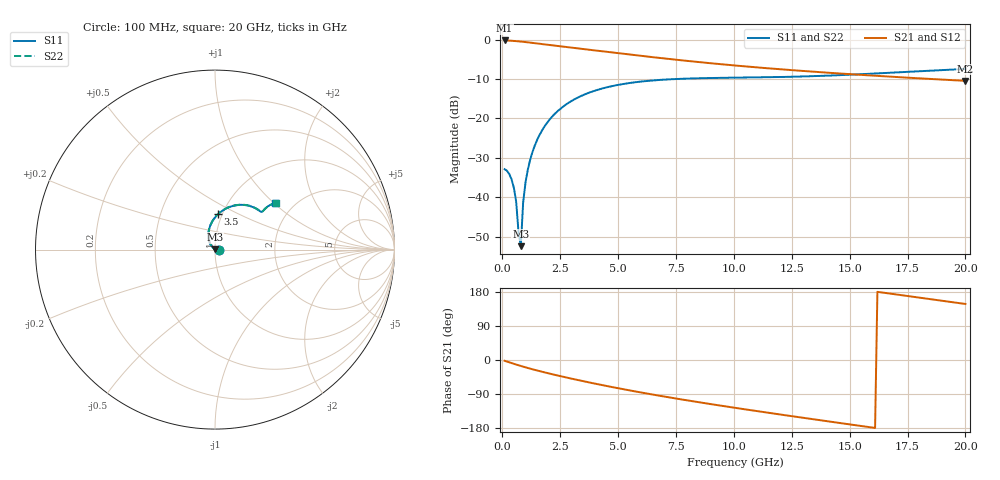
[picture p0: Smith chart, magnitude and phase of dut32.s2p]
! Touchstone file exported from HFSS 2023.1.0
!  File:  D:/Users/fzz/RDL_TSV/temp_RDL_TSV_32_1778744230.aedt
!  Generated:  3:45:00 %x4E0B%x5348  5%x6708 14, 2026
!  Design:  RDL_TSV
!  Project:  temp_RDL_TSV_32_1778744230
!  Setup:  Setup1
!  Solution:  Sweep
! Variables:
!  dtsv = 17.72um
!  hbump = 3um
!  htsv = 69.11um
!  ldown = 151.31um
!  lrdl = 560.95um
!  p = 40
!  p1 = 52.82um
!  rhole = 10um
!  subl = 2697.73um
!  t = 450um
!  tdown = 4.63um
!  trdl = 2.85um
!  viad = 10um
!  wdown = 23.91um
!  wrdl = 12.64um
!  xbump = 18um
# GHz S MA R 50.000000
! Terminal data exported
! Port[1] = TM1_1_T1
! Port[2] = TM1_4_T1
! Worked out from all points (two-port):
!   200 points, 100 MHz to 20 GHz, reference 50 ohm
!   highest |S21| = -0.21 dB at 100 MHz (marker M1); lowest = -10.5 dB at 20 GHz (marker M2)
!   |S21| within 3 dB of the highest: start of sweep to 4.68 GHz
!   lowest |S11| = -52.4 dB at 800 MHz (marker M3), VSWR 1.00, Z = 49.9 + j0.191 ohm
!   |S11| at or under -10 dB: start of sweep to 7.469 GHz
!   |S22| runs from -52.2 to -7.4 dB; largest |S21 - S12| = 6.3e-15
!   S11 on the Smith chart (normalised r, x): 100 MHz: 1.05, -0.00; 3.5 GHz: 0.96, +0.39; 20 GHz: 1.62, +1.02
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0.1  0.02275 -2.7  0.9762 -2.1  0.9762 -2.1  0.02275 -2.7
! Gamma 0 0 0 0
! Port Impedance 50 0 50 0
0.3  0.01976 -9.4  0.9713 -6.1  0.9713 -6.1  0.01975 -9.4
0.5  0.01318 -15.8  0.9628 -10.1  0.9628 -10.1  0.01315 -15.8
0.6  0.008726 -17.6  0.9575 -12.0  0.9575 -12.0  0.008684 -17.5
0.7  0.003642 -12.8  0.9517 -13.9  0.9517 -13.9  0.003589 -12.6
0.8  0.002398 126.9  0.9454 -15.7  0.9454 -15.7  0.002465 127.5
0.9  0.008534 139.5  0.9387 -17.5  0.9387 -17.5  0.00862 139.6
1  0.01522 138.8  0.9317 -19.3  0.9317 -19.3  0.01532 138.8
1.1  0.02229 136.6  0.9246 -21.1  0.9246 -21.1  0.02241 136.6
1.2  0.02967 134.0  0.9172 -22.8  0.9172 -22.8  0.02981 134.0
1.4  0.0451 128.5  0.9023 -26.1  0.9023 -26.1  0.04528 128.5
1.8  0.07722 118.0  0.8726 -32.3  0.8726 -32.3  0.07748 118.0
2.2  0.1091 108.6  0.8441 -38.2  0.8441 -38.2  0.1095 108.6
2.8  0.1537 96.6  0.8038 -46.6  0.8038 -46.6  0.1541 96.6
3.5  0.1984 85.0  0.7597 -56.0  0.7597 -56.0  0.199 85.0
4.9  0.2631 67.7  0.6791 -73.3  0.6791 -73.3  0.2639 67.7
6.8  0.3082 52.5  0.5856 -94.4  0.5856 -94.4  0.3093 52.5
8.4  0.3232 44.9  0.5222 -110.6  0.5222 -110.6  0.3244 44.9
10.1  0.3294 40.6  0.4683 -126.7  0.4683 -126.7  0.3307 40.6
13.4  0.3439 38.9  0.3925 -156.1  0.3925 -156.1  0.3451 38.8
16.7  0.3795 39.3  0.3398 175.6  0.3398 175.6  0.3806 39.2
20  0.4248 37.5  0.3 147.9  0.3 147.9  0.4257 37.5
